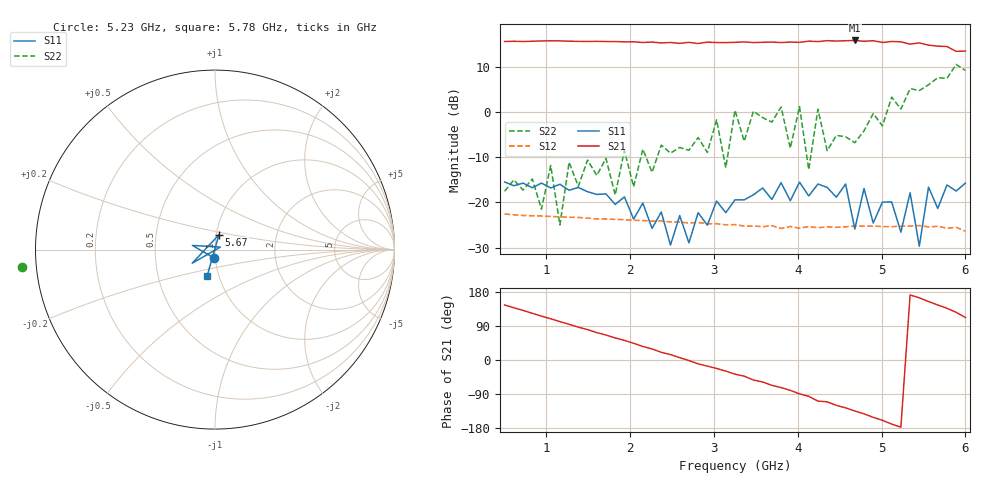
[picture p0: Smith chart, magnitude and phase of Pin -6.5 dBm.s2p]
! RsaToolbox (C) 2015 Rohde & Schwarz America
! Number of points: 51
! Number of ports: 2
! Balanced ports?: No
# Hz S RI R 50
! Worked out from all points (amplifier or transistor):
!   51 points, 500 MHz to 6 GHz, reference 50 ohm
!   highest |S21| = 15.8 dB at 4.68 GHz (marker M1)
!   |S21| within 3 dB of that: start of sweep to end of sweep
!   unconditionally stable (mu >= 1): start of sweep to 3.004 GHz; 3.047 GHz to 3.219 GHz; 4.289 GHz to 4.799 GHz (the widest 3 of 6)
!   at 1.38 GHz: K = 1.35, MAG = 15.9 dB, |S12| = -23.3 dB
!   at 3.25 GHz: K = 0.09, MSG = 20.2 dB, |S12| = -24.9 dB
!   at 6 GHz: K = -15.30, MSG = 19.9 dB, |S12| = -26.4 dB
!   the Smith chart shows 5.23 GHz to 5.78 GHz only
!   S11 on the Smith chart (normalised r, x): 5.23 GHz: 0.99, -0.09; 5.67 GHz: 1.03, +0.17; 5.78 GHz: 0.88, -0.27
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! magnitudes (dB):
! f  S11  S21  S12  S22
! 500 MHz  -15.5  15.6  -22.6  -17.5
! 940 MHz  -15.7  15.7  -23.0  -21.5
! 1.05 GHz  -16.8  15.8  -23.1  -11.8
! 1.16 GHz  -16.0  15.7  -23.2  -25.0
! 1.27 GHz  -17.3  15.7  -23.3  -11.1
! 1.49 GHz  -17.6  15.6  -23.5  -10.6
! 1.82 GHz  -20.4  15.6  -23.8  -18.3
! 2.37 GHz  -22.1  15.3  -24.1  -7.3
! 2.7 GHz  -28.9  15.4  -24.5  -8.5
! 3.03 GHz  -19.7  15.4  -24.7  -1.7
! 3.14 GHz  -22.3  15.4  -24.9  -12.3
! 3.25 GHz  -19.4  15.4  -24.9  0.4
! 3.91 GHz  -19.6  15.5  -25.3  -8.0
! 4.02 GHz  -15.5  15.4  -25.7  1.2
! 4.13 GHz  -18.6  15.7  -25.4  -12.7
! 4.24 GHz  -15.9  15.6  -25.6  0.6
! 4.68 GHz  -25.9  15.8  -25.2  -6.8
! 5.12 GHz  -19.9  15.6  -25.4  3.3
! 5.23 GHz  -26.6  15.5  -25.3  0.7
! 5.67 GHz  -21.3  14.6  -25.3  7.6
! 5.78 GHz  -16.1  14.5  -25.7  7.4
! 6 GHz  -15.7  13.5  -26.4  9.2
